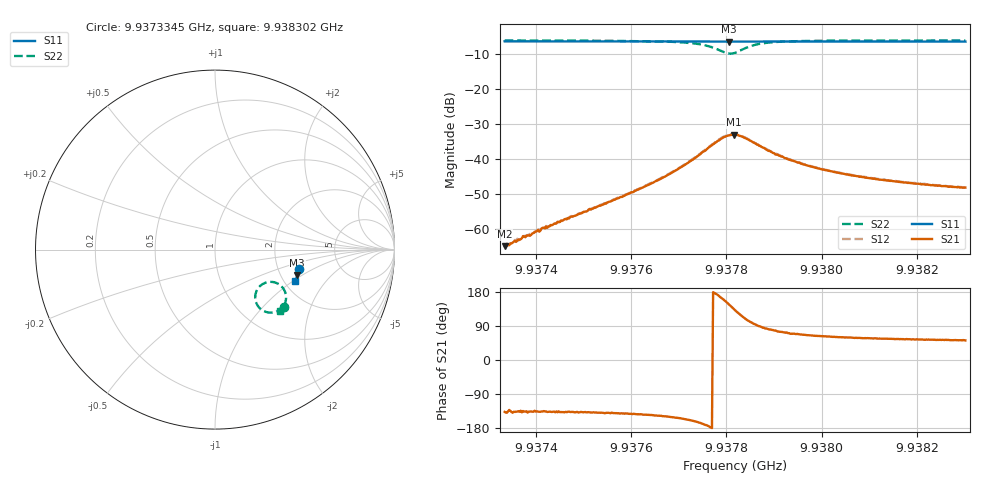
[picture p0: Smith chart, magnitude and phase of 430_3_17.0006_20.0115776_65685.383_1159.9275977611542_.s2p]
#  HZ  S  RI  R  50.00
! Rohde & Schwarz Vector Network Analyzer
! Rohde-Schwarz,ZNB20-2Port,1311601062101988,3.16
! Created: UTC 3/20/2024, 11:11:20 PM
! freq[Hz]  re:S11  im:S11  re:S21  im:S21  re:S12  im:S12  re:S22  im:S22
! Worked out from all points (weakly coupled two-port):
!   401 points, 9.9373345 GHz to 9.938302 GHz, reference 50 ohm
!   highest |S21| = -33.03 dB at 9.9378158 GHz (marker M1); lowest = -65.0 dB at 9.9373345 GHz (marker M2)
!   lowest |S11| = -6.4 dB at 9.9378062 GHz (marker M3), VSWR 2.84, Z = 123 - j44.8 ohm
!   |S11| at or under -10 dB: nowhere
!   |S22| runs from -9.8 to -6.1 dB; largest |S21 - S12| = 0.00089
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9.93733453e9  0.4705 -0.1107  -0.00041 -0.000384  -0.000419 -0.000379  0.3819 -0.3192
9.93734662e9  0.4702 -0.1116  -0.000428 -0.00044  -0.000463 -0.000409  0.381 -0.3199
9.93737806e9  0.4696 -0.1137  -0.000543 -0.000523  -0.000563 -0.000534  0.3782 -0.3223
9.93739016e9  0.4694 -0.1145  -0.000587 -0.000567  -0.00062 -0.000571  0.3774 -0.3232
9.93741676e9  0.4688 -0.1163  -0.000731 -0.000736  -0.000759 -0.000716  0.375 -0.3252
9.93749657e9  0.4671 -0.1216  -0.00123 -0.00113  -0.00126 -0.00112  0.3667 -0.3318
9.93758364e9  0.4651 -0.1274  -0.00227 -0.00184  -0.00235 -0.00182  0.3533 -0.3401
9.93765862e9  0.4631 -0.1325  -0.00421 -0.00276  -0.00434 -0.00271  0.3331 -0.3485
9.93770941e9  0.4617 -0.136  -0.0072 -0.00333  -0.00736 -0.00329  0.3063 -0.3513
9.93775536e9  0.4599 -0.1389  -0.0129 -0.00198  -0.0134 -0.00181  0.2601 -0.3354
9.93778922e9  0.4582 -0.1406  -0.0188 0.00535  -0.0191 0.0057  0.2241 -0.27
9.93780615e9  0.4577 -0.1407  -0.018 0.0122  -0.0181 0.0131  0.2396 -0.2161
9.93781582e9  0.4577 -0.1409  -0.0156 0.0159  -0.0154 0.0166  0.2646 -0.1925
9.93781824e9  0.4578 -0.1409  -0.0147 0.0166  -0.0145 0.0172  0.2726 -0.1883
9.93783759e9  0.4581 -0.1418  -0.00738 0.0189  -0.00687 0.0193  0.3328 -0.1828
9.93787145e9  0.4582 -0.1441  0.000615 0.0153  0.000942 0.0153  0.3859 -0.2254
9.93790047e9  0.4579 -0.1463  0.00254 0.0118  0.00285 0.0117  0.3954 -0.2564
9.93792708e9  0.4574 -0.1484  0.00299 0.00959  0.0034 0.00957  0.3956 -0.2752
9.93798029e9  0.4561 -0.1521  0.0033 0.00696  0.00345 0.00697  0.3902 -0.2981
9.93805768e9  0.454 -0.1572  0.00298 0.00507  0.00315 0.00507  0.3814 -0.316
9.93814233e9  0.4518 -0.1628  0.00271 0.00402  0.00284 0.00402  0.3734 -0.3277
9.93830196e9  0.4473 -0.173  0.00241 0.00305  0.00248 0.00304  0.3611 -0.342
